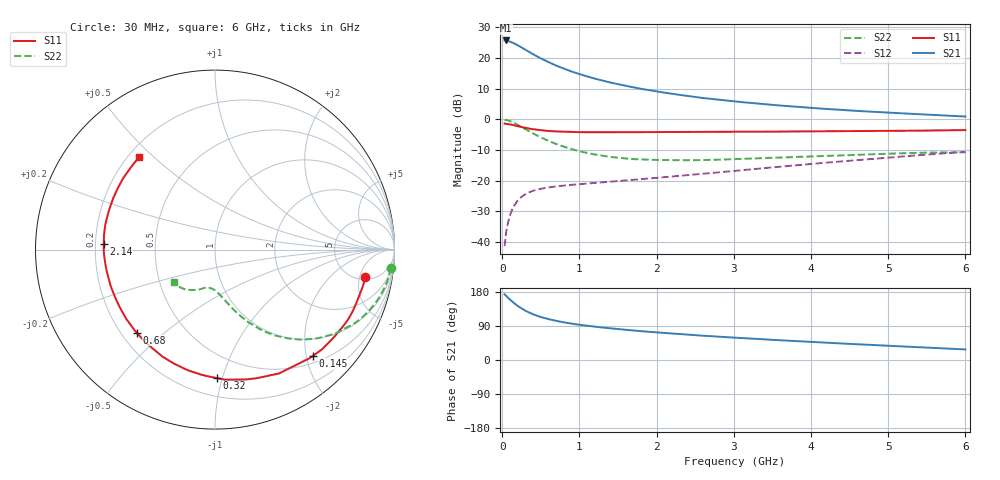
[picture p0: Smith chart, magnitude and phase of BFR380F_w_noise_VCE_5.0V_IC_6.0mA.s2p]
! Infineon Technologies  Discrete & RF Semiconductors
! BFR380F
! VCE =  5.0 V,  IC =  6.0 mA
! Common Emitter S-Parameters:  Nov 2015
# GHz  S  MA  R  50
!  f  S11  S21  S12  S22
! GHz  MAG  ANG  MAG  ANG  MAG  ANG  MAG  ANG
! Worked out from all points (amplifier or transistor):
!   206 points, 30 MHz to 6 GHz, reference 50 ohm
!   highest |S21| = 25.8 dB at 50 MHz (marker M1)
!   |S21| within 3 dB of that: start of sweep to 297.7 MHz
!   unconditionally stable (mu >= 1): 2.135 GHz to 5.038 GHz
!   at 200 MHz: K = 0.15, MSG = 25.3 dB, |S12| = -26.5 dB
!   at 1.56 GHz: K = 0.86, MSG = 15.6 dB, |S12| = -20.0 dB
!   at 6 GHz: K = 0.96, MSG = 5.8 dB, |S12| = -10.6 dB
!   lowest NFmin = 0.78 dB at 900 MHz
!   S11 on the Smith chart (normalised r, x): 30 MHz: 5.55, -6.17; 145 MHz: 0.63, -2.12; 320 MHz: 0.33, -0.96; 680 MHz: 0.26, -0.41; 2.14 GHz: 0.23, +0.02; 6 GHz: 0.24, +0.45
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0.03  0.8519 -10.3  19.39 173.5  0.0085 84.8  0.9851 -6.0
0.05  0.8437 -17.4  19.39 168.8  0.0142 81.6  0.9772 -9.9
0.08  0.8378 -27.4  18.98 163.4  0.0221 76.5  0.9558 -15.7
0.1  0.8263 -33.8  18.58 159.3  0.0271 73.3  0.9367 -19.3
0.145  0.8045 -47.4  17.57 151.4  0.0371 66.9  0.8869 -26.9
0.2  0.7767 -62.7  16.17 142.5  0.0472 60.2  0.8167 -35.0
0.26  0.7437 -76.6  14.63 134.8  0.0556 54.4  0.7404 -42.2
0.32  0.7162 -89.1  13.21 128.0  0.0619 49.9  0.6693 -48.2
0.4  0.6891 -102.7  11.54 120.5  0.0683 45.5  0.5875 -54.7
0.5  0.6639 -116.2  9.862 113.3  0.0737 41.9  0.5056 -60.8
0.6  0.6464 -126.7  8.544 107.6  0.0775 39.7  0.4428 -65.5
0.68  0.6358 -133.3  7.714 104.1  0.0799 38.8  0.4034 -68.4
0.8  0.6272 -142.0  6.689 99.2  0.083 38.1  0.3556 -72.3
1.04  0.6166 -154.3  5.28 91.9  0.0883 38.6  0.2936 -78.2
1.2  0.6157 -160.7  4.615 87.8  0.0917 39.6  0.2663 -81.7
1.48  0.6154 -169.2  3.791 81.9  0.0978 42.0  0.2375 -87.0
2.02  0.6202 179.3  2.826 72.5  0.1115 47.1  0.2172 -95.4
2.14  0.6206 177.2  2.68 70.7  0.1149 48.2  0.216 -96.9
3.1  0.6274 164.2  1.911 58.0  0.1476 55.3  0.2258 -107.3
4.1  0.636 152.0  1.507 46.7  0.1917 58.6  0.2502 -115.7
5.1  0.6491 140.7  1.268 36.7  0.2428 58.9  0.2773 -127.3
6  0.6674 129.3  1.111 27.9  0.2938 56.5  0.2907 -141.1
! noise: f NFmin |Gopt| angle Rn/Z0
0.45  0.8  0.21  49  0.1
0.9  0.78  0.23  98  0.12
1.8  1.15  0.36  153  0.08
1.9  1.26  0.37  155  0.08
2.4  1.43  0.4  172  0.08
3.5  2.15  0.49  -163  0.1
